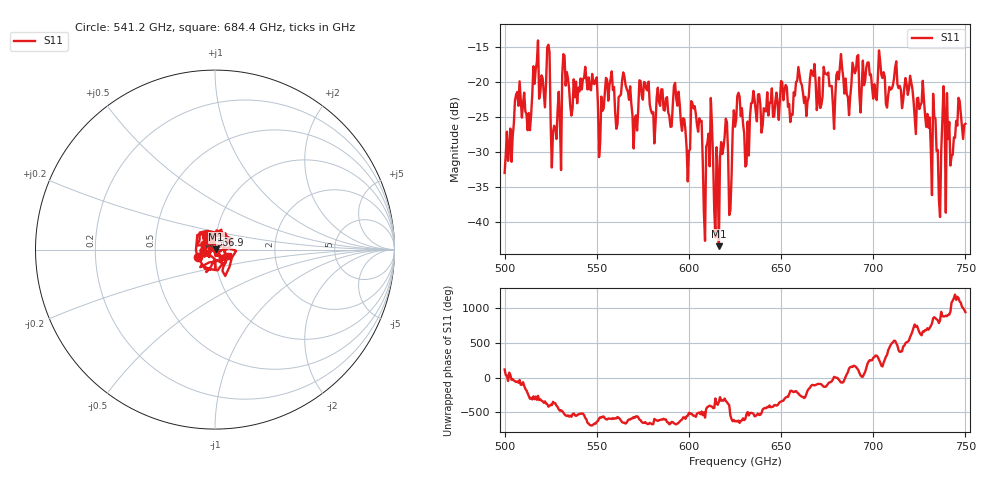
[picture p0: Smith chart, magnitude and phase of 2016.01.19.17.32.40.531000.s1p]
!Created with skrf (http://scikit-rf.org).
# GHz S RI R 50.0
!freq ReS11 ImS11
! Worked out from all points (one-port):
!   401 points, 500 GHz to 750 GHz, reference 50 ohm
!   lowest |S11| = -43.4 dB at 616.2 GHz (marker M1), VSWR 1.01, Z = 50.7 + j0.144 ohm
!   |S11| at or under -10 dB: start of sweep to end of sweep
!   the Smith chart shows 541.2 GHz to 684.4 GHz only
!   S11 on the Smith chart (normalised r, x): 541.2 GHz: 0.82, -0.07; 566.9 GHz: 0.94, +0.16; 684.4 GHz: 1.15, -0.09
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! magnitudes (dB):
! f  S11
! 500 GHz  -33.0
! 506.9 GHz  -21.4
! 513.1 GHz  -24.4
! 516.9 GHz  -18.2
! 523.8 GHz  -14.7
! 526.9 GHz  -26.2
! 531.2 GHz  -19.1
! 541.2 GHz  -19.5
! 562.5 GHz  -22.0
! 566.9 GHz  -21.4
! 593.8 GHz  -23.4
! 599.4 GHz  -34.2
! 602.5 GHz  -23.8
! 608.8 GHz  -42.6
! 611.2 GHz  -32.0
! 615 GHz  -29.3
! 616.2 GHz  -43.4
! 620 GHz  -25.2
! 622.5 GHz  -38.3
! 625 GHz  -26.4
! 656.2 GHz  -24.7
! 684.4 GHz  -21.7
! 687.5 GHz  -22.1
! 718.8 GHz  -21.8
! 733.8 GHz  -25.2
! 735.6 GHz  -36.7
! 738.8 GHz  -24.8
! 750 GHz  -26.0
